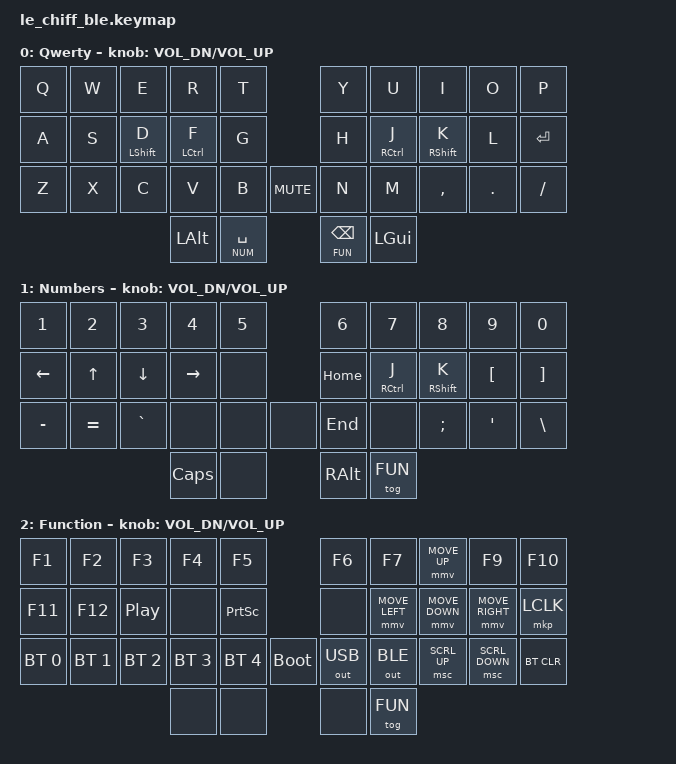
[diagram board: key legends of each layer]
/*
 * Copyright (c) 2023 @Lunaristic
 *
 * SPDX-License-Identifier: MIT
 */

#include <behaviors.dtsi>
#include <dt-bindings/zmk/keys.h>
#include <dt-bindings/zmk/bt.h>
#include <dt-bindings/zmk/outputs.h>

#define QWR 0
#define NUM 1
#define FUN 2

#define ZMK_POINTING_DEFAULT_MOVE_VAL 1600
#define ZMK_POINTING_DEFAULT_SCRL_VAL 15
#include <dt-bindings/zmk/pointing.h>

&mmv {
	time-to-max-speed-ms = <300>;
};

&msc {
	time-to-max-speed-ms = <0>;
};

&lt {
	quick_tap_ms = <200>;
};

&caps_word {
	continue-list = <UNDERSCORE MINUS BSPC LSHFT RSHFT>;
};

//  _____________________________       _____________________________
// /  0  |  1  |  2  |  3  |  4  \     /   5 |   6 |   7 |   8 |  9  \
// | 10  | 11  | 12  | 13  | 14  | ___ |  15 |  16 |  17 |  18 | 19  |
// | 20  | 21  | 22  | 23  | 24  ||025||  26 |  27 |  28 |  29 | 30  |
//          \   31   |    32     /     \     33    |  34    /
//           --------------------       --------------------

/ {
	macros {
		macro_cut: macro_cut {
			label = "macro_cut";
			compatible = "zmk,behavior-macro";
			#binding-cells = <0>;
			bindings
				= <&macro_press &kp LCTRL>
				, <&macro_tap &kp X>
                , <&macro_release &kp LCTRL>
                ;
		};
		macro_copy: macro_copy {
			label = "macro_copy";
			compatible = "zmk,behavior-macro";
			#binding-cells = <0>;
			bindings
				= <&macro_press &kp LCTRL>
				, <&macro_tap &kp C>
                , <&macro_release &kp LCTRL>
                ;
		};
		macro_paste: macro_paste {
			label = "macro_paste";
			compatible = "zmk,behavior-macro";
			#binding-cells = <0>;
			bindings
				= <&macro_press &kp LCTRL>
				, <&macro_tap &kp V>
                , <&macro_release &kp LCTRL>
                ;
		};
	};

	combos {
		compatible = "zmk,combos";
		combo_esc {
			timeout-ms = <20>;
			key-positions = <0 1>;
			bindings = <&kp ESC>;
			layers = <QWR>;
		};
		combo_del {
			timeout-ms = <20>;
			key-positions = <1 2>;
			bindings = <&kp DEL>;
			layers = <QWR>;
		};
		combo_tab {
			timeout-ms = <20>;
			key-positions = <10 11>;
			bindings = <&kp TAB>;
			layers = <QWR>;
		};
		combo_cut {
			timeout-ms = <20>;
			key-positions = <20 21>;
			bindings = <&macro_cut>;
			layers = <QWR>;
		};
		combo_copy {
			timeout-ms = <20>;
			key-positions = <21 22>;
			bindings = <&macro_copy>;
			layers = <QWR>;
		};
		combo_paste {
			timeout-ms = <20>;
			key-positions = <22 23>;
			bindings = <&macro_paste>;
			layers = <QWR>;
		};
		combo_studio_unlock {
			timeout-ms = <50>;
			key-positions = <31 34>;
			bindings = <&studio_unlock>;
			layers = <QWR>;
		};
	};

	behaviors {
		hm: homerow_mods {
			compatible = "zmk,behavior-hold-tap";
			label = "homerow mods";
			#binding-cells = <2>;
			flavor = "tap-preferred";
			tapping-term-ms = <200>;
			quick-tap-ms = <100>;
			bindings = <&kp>, <&kp>;
		};
	};
	
	keymap {
		compatible = "zmk,keymap";

		default_layer {
			label = "Qwerty";
			display-name = "Qwerty";
			bindings = <
			&kp Q		&kp W		&kp E		&kp R		&kp T					&kp Y		&kp U		&kp I		&kp O		&kp P
			&kp A		&kp S		&hm LSHFT D	&hm LCTRL F	&kp G					&kp H		&hm RCTRL J	&hm RSHFT K	&kp L		&kp RET
			&kp Z		&kp X		&kp C		&kp V		&kp B		&kp C_MUTE	&kp N		&kp M		&kp COMMA	&kp DOT		&kp FSLH
												&kp LALT	&lt NUM SPACE			&lt FUN BSPC	&kp LGUI
			>;
			sensor-bindings = <&inc_dec_kp C_VOL_DN C_VOL_UP>;
		};

		numbers_layer {
			label = "Numbers";
			display-name = "Numbers";
			bindings = <
			&kp N1		&kp N2		&kp N3		&kp N4		&kp N5					&kp N6		&kp N7		&kp N8		&kp N9		&kp N0
			&kp LEFT	&kp UP		&kp DOWN	&kp RIGHT	&none					&kp HOME	&hm RCTRL J	&hm RSHFT K	&kp LBKT	&kp RBKT
			&kp MINUS	&kp EQUAL	&kp GRAVE	&none		&none		&none		&kp END		&none		&kp SEMI	&kp SQT		&kp BSLH
												&kp CAPS	&none					&kp RALT	&tog FUN
			>;
			sensor-bindings = <&inc_dec_kp C_VOL_DN C_VOL_UP>;
		};
		
		functions_layer {
			label = "Function";
			display-name = "Function";
			bindings = <
			&kp F1			&kp F2			&kp F3			&kp F4			&kp F5									&kp F6			&kp F7			&mmv MOVE_UP	&kp F9				&kp F10
			&kp F11			&kp F12			&kp C_PP		&none			&kp PSCRN								&none			&mmv MOVE_LEFT	&mmv MOVE_DOWN	&mmv MOVE_RIGHT		&mkp LCLK
			&bt BT_SEL 0	&bt BT_SEL 1	&bt BT_SEL 2	&bt BT_SEL 3	&bt BT_SEL 4		&bootloader			&out OUT_USB	&out OUT_BLE	&msc SCRL_UP	&msc SCRL_DOWN	&bt BT_CLR
															&none			&none									&none			&tog FUN
			>;
			sensor-bindings = <&inc_dec_kp C_VOL_DN C_VOL_UP>;
		};

		extra_layer_0 {
			status = "reserved";
		};

		extra_layer_1 {
			status = "reserved";
		};

		extra_layer_2 {
			status = "reserved";
		};
	};
};
